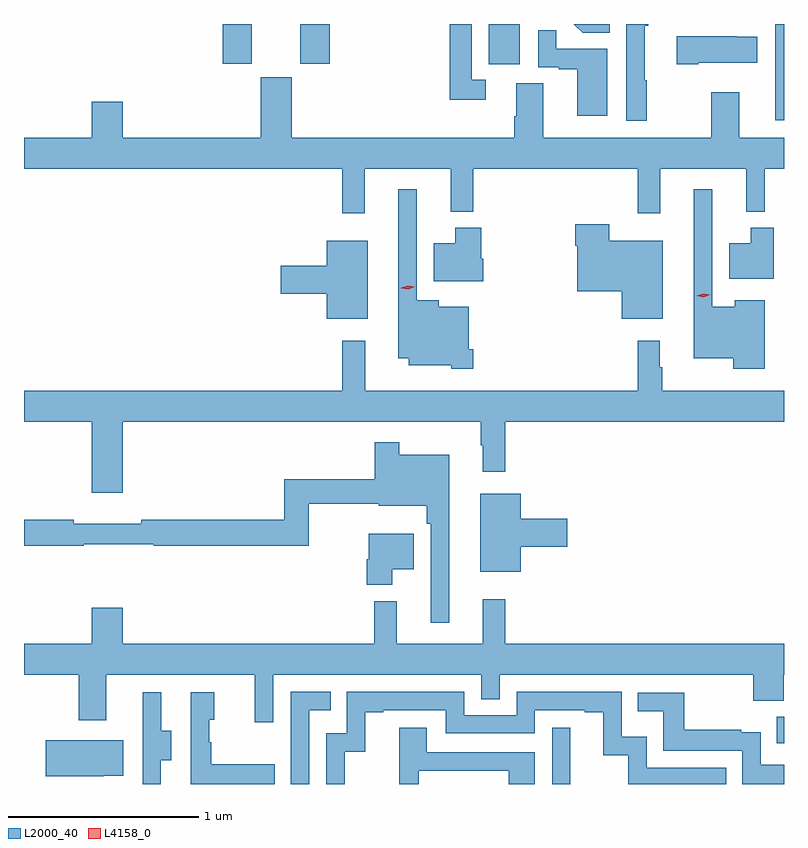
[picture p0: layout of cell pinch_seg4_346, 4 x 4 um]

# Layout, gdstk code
import gdstk
lib = gdstk.Library(unit=1e-6, precision=1e-09)
def R(c, l, rs):  # rectangles x0, y0, x1, y1
    for r in rs: c.add(gdstk.rectangle(r[:2], r[2:], *l))
def P(c, l, *ps):  # polygons
    for p in ps: c.add(gdstk.Polygon(p, *l))
L2000_40 = (2000, 40)
L4158_0 = (4158, 0)

pinch_seg4_346 = lib.new_cell('pinch_seg4_346')
R(pinch_seg4_346, L2000_40, [(994.602,789.586,994.699,789.883), (995.785,789.8,995.823,789.94), (994.268,793.374,994.432,793.586), (992.87,793.377,993.022,793.586), (993.278,793.377,993.431,793.586)])
P(pinch_seg4_346, L2000_40, [(995.101,793.289),(995.089,793.289),(995.089,793.577),(995.108,793.577),(995.108,793.586),(994.992,793.586),(994.992,793.077),(995.101,793.077)],
  [(994.907,793.586),(994.717,793.586),(994.763,793.54),(994.907,793.54)],
  [(994.252,793.293),(994.179,793.293),(994.179,793.586),(994.063,793.586),(994.063,793.188),(994.252,793.188)],
  [(995.823,793.586),(995.778,793.586),(995.778,793.293),(995.777,793.293),(995.777,793.08),(995.823,793.08)],
  [(994.894,793.455),(994.625,793.455),(994.625,793.553),(994.53,793.553),(994.53,793.359),(994.637,793.359),(994.637,793.347),(994.736,793.347),(994.736,793.104),(994.894,793.104)],
  [(995.371,793.382),(995.681,793.382),(995.681,793.519),(995.573,793.519),(995.573,793.522),(995.259,793.522),(995.259,793.375),(995.371,793.375)],
  [(993.617,792.824),(994.07,792.824),(994.07,792.599),(994.187,792.599),(994.187,792.824),(995.053,792.824),(995.053,792.591),(995.171,792.591),(995.171,792.824),(995.624,792.824),(995.624,792.599),(995.722,792.599),(995.722,792.824),(995.823,792.824),(995.823,792.988),(995.587,792.988),(995.587,793.228),(995.44,793.228),(995.44,792.988),(994.555,792.988),(994.555,793.274),(994.415,793.274),(994.415,793.1),(994.403,793.1),(994.403,792.988),(993.232,792.988),(993.232,793.305),(993.068,793.305),(993.068,792.988),(992.344,792.988),(992.344,793.177),(992.18,793.177),(992.18,792.988),(991.823,792.988),(991.823,792.824),(993.499,792.824),(993.499,792.591),(993.617,792.591)],
  [(994.187,791.875),(994.165,791.875),(994.165,792.097),(994.006,792.097),(994.006,792.133),(993.891,792.133),(993.891,792.715),(993.794,792.715),(993.794,791.828),(993.848,791.828),(993.848,791.789),(994.071,791.789),(994.071,791.771),(994.187,791.771)],
  [(995.722,792.133),(995.564,792.133),(995.564,792.097),(995.445,792.097),(995.445,792.715),(995.348,792.715),(995.348,791.828),(995.557,791.828),(995.557,791.771),(995.722,791.771)],
  [(995.185,792.445),(994.902,792.445),(994.902,792.532),(994.724,792.532),(994.724,792.419),(994.736,792.419),(994.736,792.179),(994.97,792.179),(994.97,792.035),(995.185,792.035)],
  [(995.77,792.514),(995.648,792.514),(995.648,792.433),(995.534,792.433),(995.534,792.245),(995.77,792.245)],
  [(994.241,792.351),(994.229,792.351),(994.229,792.514),(994.094,792.514),(994.094,792.433),(993.98,792.433),(993.98,792.233),(994.241,792.233)],
  [(993.631,792.445),(993.416,792.445),(993.416,792.314),(993.174,792.314),(993.174,792.167),(993.416,792.167),(993.416,792.035),(993.631,792.035)],
  [(992.344,791.492),(994.227,791.492),(994.227,791.369),(994.238,791.369),(994.238,791.229),(994.355,791.229),(994.355,791.492),(995.823,791.492),(995.823,791.656),(995.182,791.656),(995.182,791.78),(995.17,791.78),(995.17,791.92),(995.053,791.92),(995.053,791.656),(993.618,791.656),(993.618,791.92),(993.499,791.92),(993.499,791.656),(991.823,791.656),(991.823,791.492),(992.18,791.492),(992.18,791.118),(992.344,791.118)],
  [(994.06,791.32),(993.799,791.32),(993.799,791.386),(993.67,791.386),(993.67,791.191),(993.193,791.191),(993.193,790.976),(992.44,790.976),(992.44,790.957),(992.084,790.957),(992.084,790.976),(991.823,790.976),(991.823,790.84),(992.138,790.84),(992.138,790.848),(992.506,790.848),(992.506,790.84),(993.322,790.84),(993.322,791.062),(993.689,791.062),(993.689,791.051),(993.943,791.051),(993.943,790.955),(993.963,790.955),(993.963,790.434),(994.06,790.434)],
  [(994.438,790.835),(994.681,790.835),(994.681,790.982),(994.438,790.982),(994.438,791.113),(994.223,791.113),(994.223,790.703),(994.438,790.703)],
  [(993.76,790.715),(993.874,790.715),(993.874,790.903),(993.638,790.903),(993.638,790.77),(993.626,790.77),(993.626,790.634),(993.76,790.634)],
  [(993.135,790.16),(994.23,790.16),(994.23,790.033),(994.326,790.033),(994.326,790.16),(995.662,790.16),(995.662,790.025),(995.822,790.025),(995.822,790.16),(995.823,790.16),(995.823,790.324),(994.355,790.324),(994.355,790.558),(994.238,790.558),(994.238,790.324),(993.785,790.324),(993.785,790.549),(993.667,790.549),(993.667,790.324),(992.344,790.324),(992.344,790.513),(992.18,790.513),(992.18,790.324),(991.823,790.324),(991.823,790.16),(992.11,790.16),(992.11,789.921),(992.257,789.921),(992.257,790.16),(993.038,790.16),(993.038,789.912),(993.135,789.912)],
  [(993.51,789.755),(993.62,789.755),(993.62,789.963),(993.715,789.963),(993.715,789.975),(994.044,789.975),(994.044,789.852),(994.512,789.852),(994.512,789.975),(994.775,789.975),(994.775,789.963),(994.871,789.963),(994.871,789.737),(995.004,789.737),(995.004,789.586),(995.519,789.586),(995.519,789.672),(995.1,789.672),(995.1,789.835),(994.968,789.835),(994.968,790.071),(994.416,790.071),(994.416,789.948),(994.14,789.948),(994.14,790.071),(993.522,790.071),(993.522,789.852),(993.414,789.852),(993.414,789.586),(993.51,789.586)],
  [(993.324,789.975),(993.437,789.975),(993.437,790.071),(993.228,790.071),(993.228,789.586),(993.324,789.586)],
  [(992.544,789.712),(992.599,789.712),(992.599,789.867),(992.545,789.867),(992.545,790.069),(992.447,790.069),(992.447,789.855),(992.448,789.855),(992.448,789.586),(992.544,789.586)],
  [(993.143,789.691),(992.809,789.691),(992.809,789.806),(992.799,789.806),(992.799,789.924),(992.824,789.924),(992.824,790.069),(992.7,790.069),(992.7,789.586),(993.143,789.586)],
  [(995.823,789.687),(995.7,789.687),(995.7,789.859),(995.597,789.859),(995.597,789.871),(995.299,789.871),(995.299,790.065),(995.053,790.065),(995.053,789.968),(995.188,789.968),(995.188,789.762),(995.604,789.762),(995.604,789.586),(995.823,789.586)],
  [(993.901,789.657),(994.375,789.657),(994.375,789.586),(994.512,789.586),(994.512,789.753),(993.943,789.753),(993.943,789.883),(993.799,789.883),(993.799,789.586),(993.901,789.586)],
  [(992.243,789.629),(992.345,789.629),(992.345,789.817),(991.937,789.817),(991.937,789.626),(992.243,789.626)])
P(pinch_seg4_346, L4158_0, [(993.845,792.189),(993.809,792.196),(993.809,792.196),(993.809,792.197),(993.844,792.209),(993.88,792.202),(993.88,792.202),(993.88,792.202)],
  [(995.399,792.148),(995.363,792.155),(995.363,792.155),(995.363,792.155),(995.398,792.167),(995.434,792.16),(995.434,792.16),(995.434,792.16)])

lib.write_gds('pinch_seg4_346.gds')
